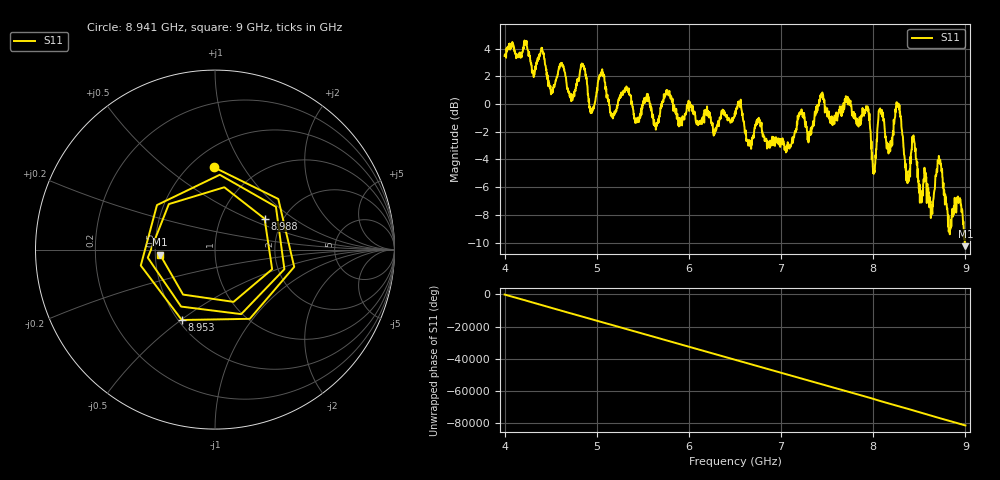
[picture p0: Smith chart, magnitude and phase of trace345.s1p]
! Created with skrf 1.8.0 (http://scikit-rf.org).
# Hz S RI R 50.0
!freq ReS11 ImS11
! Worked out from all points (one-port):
!   1601 points, 4 GHz to 9 GHz, reference 50 ohm
!   lowest |S11| = -10.2 dB at 9 GHz (marker M1), VSWR 1.89, Z = 26.5 - j1.65 ohm
!   |S11| at or under -10 dB: 8.993189 GHz to end of sweep
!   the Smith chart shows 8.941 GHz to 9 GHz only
!   S11 on the Smith chart (normalised r, x): 8.941 GHz: 0.65, +0.75; 8.953 GHz: 0.52, -0.50; 8.988 GHz: 1.61, +0.62; 9 GHz: 0.53, -0.03
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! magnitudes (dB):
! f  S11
! 4 GHz  3.5
! 4.512 GHz  0.8
! 4.625 GHz  2.7
! 4.731 GHz  0.3
! 4.853 GHz  2.7
! 4.944 GHz  -0.6
! 5.053 GHz  2.4
! 5.166 GHz  -0.7
! 5.25 GHz  0.5
! 5.875 GHz  -0.7
! 6.5 GHz  -0.8
! 7.125 GHz  -2.4
! 7.75 GHz  0.1
! 7.938 GHz  -0.2
! 8.009 GHz  -4.8
! 8.075 GHz  -0.3
! 8.172 GHz  -3.2
! 8.266 GHz  -0.1
! 8.375 GHz  -5.3
! 8.434 GHz  -2.3
! 8.512 GHz  -7.0
! 8.634 GHz  -7.6
! 8.722 GHz  -4.3
! 8.825 GHz  -9.1
! 8.941 GHz  -6.8
! 8.953 GHz  -7.3
! 8.988 GHz  -9.8
! 9 GHz  -10.2
